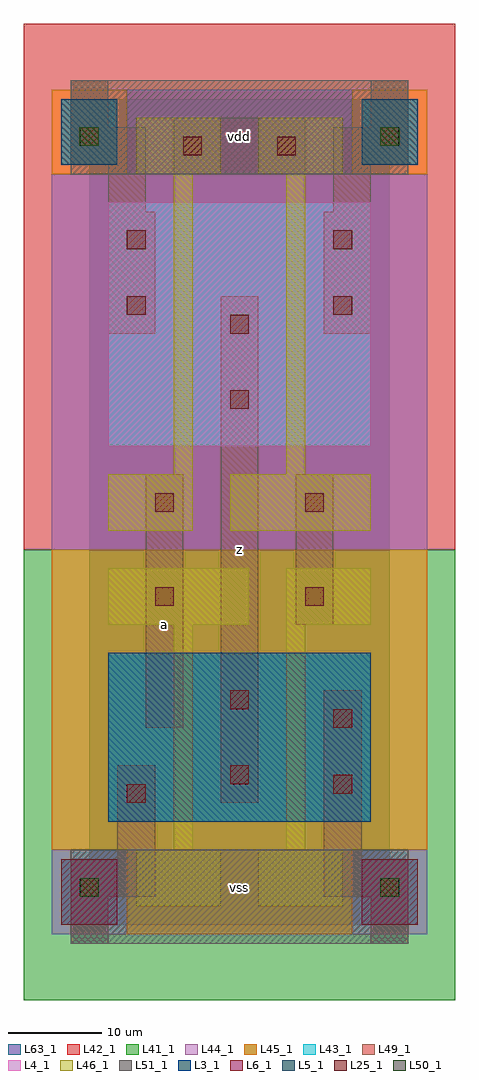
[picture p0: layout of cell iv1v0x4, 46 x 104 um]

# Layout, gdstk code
import gdstk
lib = gdstk.Library(unit=1e-6, precision=1e-09)
def R(c, l, rs):  # rectangles x0, y0, x1, y1
    for r in rs: c.add(gdstk.rectangle(r[:2], r[2:], *l))
L3_1 = (3, 1)
L4_1 = (4, 1)
L5_1 = (5, 1)
L6_1 = (6, 1)
L25_1 = (25, 1)
L41_1 = (41, 1)
L42_1 = (42, 1)
L43_1 = (43, 1)
L44_1 = (44, 1)
L45_1 = (45, 1)
L46_1 = (46, 1)
L49_1 = (49, 1)
L50_1 = (50, 1)
L51_1 = (51, 1)
L63_1 = (63, 1)

iv1v0x4 = lib.new_cell('iv1v0x4')
R(iv1v0x4, L3_1, [(2,11,30,29)])
R(iv1v0x4, L4_1, [(2,51,30,77)])
R(iv1v0x4, L5_1, [(-3,81,3,88), (29,81,35,88)])
R(iv1v0x4, L6_1, [(-3,0,3,7), (-3,0,3,7), (29,0,35,7), (29,0,35,7)])
R(iv1v0x4, L25_1, [(-1,3,1,5), (31,3,33,5), (4,13,6,15), (26,14,28,16), (15,15,17,17), (26,21,28,23), (15,23,17,25), (7,34,9,36), (23,34,25,36), (7,44,9,46), (23,44,25,46), (15,55,17,57), (15,63,17,65), (4,65,6,67), (26,65,28,67), (4,72,6,74), (26,72,28,74), (10,82,12,84), (20,82,22,84), (-1,83,1,85), (31,83,33,85)])
R(iv1v0x4, L41_1, [(-7,-8,39,40)])
R(iv1v0x4, L42_1, [(-7,40,39,96)])
R(iv1v0x4, L43_1, [(-3,0,3,7), (29,0,35,7), (2,11,30,29), (2,51,30,77), (-3,81,3,88), (29,81,35,88)])
R(iv1v0x4, L44_1, [(-4,-1,4,8), (28,-1,36,8), (-4,40,36,80), (4,80,28,89)])
R(iv1v0x4, L45_1, [(4,-1,28,8), (-4,8,36,40), (-4,80,4,89), (28,80,36,89)])
R(iv1v0x4, L46_1, [(5,2,14,8), (18,2,27,8), (9,8,11,32), (21,8,23,32), (2,32,17,38), (21,32,30,38), (2,42,11,48), (15,42,30,48), (9,48,11,80), (21,48,23,80), (5,80,14,86), (18,80,27,86)])
R(iv1v0x4, L49_1, [(-2,-2,2,3), (30,-2,34,3), (-2,3,7,7), (25,3,34,7), (3,7,7,17), (25,7,29,25), (14,13,18,67), (6,21,10,48), (22,32,26,48), (2,63,7,76), (25,63,30,76), (2,76,6,81), (26,76,30,81), (9,80,23,86), (-2,81,6,85), (26,81,34,85), (-2,85,2,90), (30,85,34,90)])
R(iv1v0x4, L50_1, [(-1,3,1,5), (31,3,33,5), (-1,83,1,85), (31,83,33,85)])
R(iv1v0x4, L51_1, [(-2,-2,34,8), (-2,80,34,90)])
R(iv1v0x4, L63_1, [(0,0,32,88)])
iv1v0x4.add(gdstk.Label('a', (8,32), layer=49, texttype=1))
iv1v0x4.add(gdstk.Label('z', (16,40), layer=49, texttype=1))
iv1v0x4.add(gdstk.Label('vss', (16,4), layer=51, texttype=1))
iv1v0x4.add(gdstk.Label('vdd', (16,84), layer=51, texttype=1))

lib.write_gds('iv1v0x4.gds')
